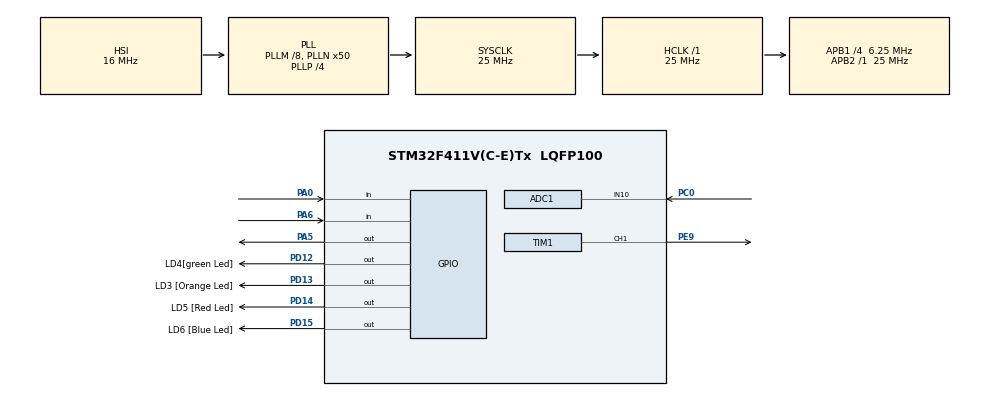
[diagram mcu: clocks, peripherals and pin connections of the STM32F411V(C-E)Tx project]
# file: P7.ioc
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ADC1.Channel-19\#ChannelRegularConversion=ADC_CHANNEL_10
ADC1.NbrOfConversion=1
ADC1.NbrOfConversionFlag=1
ADC1.Rank-19\#ChannelRegularConversion=1
ADC1.SamplingTime-19\#ChannelRegularConversion=ADC_SAMPLETIME_3CYCLES
ADC1.master=1
Mcu.Family=STM32F4
Mcu.Name=STM32F411V(C-E)Tx
Mcu.Package=LQFP100
NVIC.PriorityGroup=NVIC_PRIORITYGROUP_0
NVIC.TIM2_IRQn=true\:0\:0\:false\:false\:true\:true
PA0-WKUP.Signal=GPIO_Input
PA5.Signal=GPIO_Output
PA6.Signal=GPIO_Input
PC0.Signal=ADCx_IN10
PD12.GPIO_Label=LD4[green Led]
PD12.Signal=GPIO_Output
PD13.GPIO_Label=LD3 [Orange Led]
PD13.GPIO_PuPd=GPIO_NOPULL
PD13.GPIO_Speed=GPIO_SPEED_FREQ_LOW
PD13.Signal=GPIO_Output
PD14.GPIO_Label=LD5 [Red Led]
PD14.GPIO_PuPd=GPIO_NOPULL
PD14.GPIO_Speed=GPIO_SPEED_FREQ_LOW
PD14.Signal=GPIO_Output
PD15.GPIO_Label=LD6 [Blue Led]
PD15.GPIO_PuPd=GPIO_NOPULL
PD15.GPIO_Speed=GPIO_SPEED_FREQ_LOW
PD15.Signal=GPIO_Output
PE9.Signal=S_TIM1_CH1
ProjectManager.HeapSize=0x200
ProjectManager.StackSize=0x400
ProjectManager.TargetToolchain=MDK-ARM V5
RCC.48MHZClocksFreq_Value=12500000
RCC.AHBFreq_Value=25000000
RCC.APB1CLKDivider=RCC_HCLK_DIV4
RCC.APB1Freq_Value=6250000
RCC.APB1TimFreq_Value=12500000
RCC.APB2Freq_Value=25000000
RCC.APB2TimFreq_Value=25000000
RCC.CortexFreq_Value=25000000
RCC.HCLKFreq_Value=25000000
RCC.HSE_VALUE=8000000
RCC.HSI_VALUE=16000000
RCC.LSE_VALUE=32768
RCC.PLLI2SM=5
RCC.PLLI2SN=200
RCC.PLLM=8
RCC.PLLN=50
RCC.PLLP=RCC_PLLP_DIV4
RCC.PLLQ=8
RCC.SYSCLKFreq_VALUE=25000000
RCC.SYSCLKSource=RCC_SYSCLKSOURCE_PLLCLK
RCC.VCOOutputFreq_Value=100000000
SH.ADCx_IN10.0=ADC1_IN10,IN10
SH.S_TIM1_CH1.0=TIM1_CH1,PWM Generation1 CH1
TIM1.Channel-PWM\ Generation1\ CH1=TIM_CHANNEL_1
TIM1.Period=100
TIM1.Prescaler=16
TIM2.ClockDivision=TIM_CLOCKDIVISION_DIV1
TIM2.Period=500
TIM2.Prescaler=16000
VP_TIM1_VS_ClockSourceINT.Mode=Internal
VP_TIM2_VS_ClockSourceINT.Mode=Internal
board=32F411EDISCOVERY

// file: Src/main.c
/* USER CODE BEGIN Header */
/**
  ******************************************************************************
  * @file           : main.c
  * @brief          : Main program body
  ******************************************************************************
  ** This notice applies to any and all portions of this file
  * that are not between comment pairs USER CODE BEGIN and
  * USER CODE END. Other portions of this file, whether
  * inserted by the user or by software development tools
  * are owned by their respective copyright owners.
  *
  * COPYRIGHT(c) 2019 STMicroelectronics
  *
  * Redistribution and use in source and binary forms, with or without modification,
  * are permitted provided that the following conditions are met:
  *   1. Redistributions of source code must retain the above copyright notice,
  *      this list of conditions and the following disclaimer.
  *   2. Redistributions in binary form must reproduce the above copyright notice,
  *      this list of conditions and the following disclaimer in the documentation
  *      and/or other materials provided with the distribution.
  *   3. Neither the name of STMicroelectronics nor the names of its contributors
  *      may be used to endorse or promote products derived from this software
  *      without specific prior written permission.
  *
  * THIS SOFTWARE IS PROVIDED BY THE COPYRIGHT HOLDERS AND CONTRIBUTORS "AS IS"
  * AND ANY EXPRESS OR IMPLIED WARRANTIES, INCLUDING, BUT NOT LIMITED TO, THE
  * IMPLIED WARRANTIES OF MERCHANTABILITY AND FITNESS FOR A PARTICULAR PURPOSE ARE
  * DISCLAIMED. IN NO EVENT SHALL THE COPYRIGHT HOLDER OR CONTRIBUTORS BE LIABLE
  * FOR ANY DIRECT, INDIRECT, INCIDENTAL, SPECIAL, EXEMPLARY, OR CONSEQUENTIAL
  * DAMAGES (INCLUDING, BUT NOT LIMITED TO, PROCUREMENT OF SUBSTITUTE GOODS OR
  * SERVICES; LOSS OF USE, DATA, OR PROFITS; OR BUSINESS INTERRUPTION) HOWEVER
  * CAUSED AND ON ANY THEORY OF LIABILITY, WHETHER IN CONTRACT, STRICT LIABILITY,
  * OR TORT (INCLUDING NEGLIGENCE OR OTHERWISE) ARISING IN ANY WAY OUT OF THE USE
  * OF THIS SOFTWARE, EVEN IF ADVISED OF THE POSSIBILITY OF SUCH DAMAGE.
  *
  ******************************************************************************
  */
/* USER CODE END Header */

#include "main.h"

/* USER CODE BEGIN PD */

#define TRUE 				1
#define FALSE 			0
#define VREF				2.91		/* Voltaje de referencia del ADC */
#define ADC_12BIT		4096		/* Cuenta Maxima del ADC de 12 bits */
#define P_HUM25			0.7275	/* 25% de 3V */
#define	P_HUM75			2.1825	/* 75% de 3V */
#define TIMEOUT_EOC	5			/*espera 5 milisegundos por End Of Convertion y ADC no ha terminado, ha habido un error*/
#define RIEGO_ON		5			/* riega por 5 segundos */
#define RIEGO_OFF		10		/*Riego apagado por 10 segundos*/
#define	OFF					0
#define	ON					1
#define TIMEOUT_EOC	5
#define PWM_MAXPOS	80		/* Corresponde a 180º en el plano cartesiano */
#define PWM_MIN			330		/* Corresponde a 0º en el plano cartesiano */
#define MODO_SENSOR				1
#define MODO_TEMPORIZADOR	2

/* USER CODE END PD */

ADC_HandleTypeDef hadc1;

TIM_HandleTypeDef htim1;			/* Timers para las interrupciones usadas en el PWM */
TIM_HandleTypeDef htim2;

/* USER CODE BEGIN PV */

int						task_Pending;	/* Flag que indica que una conversión se ha lanzado y hay que recoger el valor */
double 				ADC_Read_fValue;	/* Variable donde se almacena el valor correspondiente a la lectura del ADC*/
int 					cuenta;	/* numero de ticks transcurrido desde el inicio de un ciclo de riego */
int						estado= OFF;					/* estado del prceso de riego */
int 					Modo= MODO_TEMPORIZADOR;

/* USER CODE END PV */

void SystemClock_Config(void);
static void MX_GPIO_Init(void);
static void MX_TIM2_Init(void);
static void MX_ADC1_Init(void);
static void MX_TIM1_Init(void);
/* USER CODE BEGIN PFP */

double Binary_to_Float(uint16_t valor);
double Leer_ADC(void);
void Tick_Iam_alive(void);
void Start_ADC_Conversion(void);
void Medidor_Humedad_Riego(double fADC);
void Leer_Boton_ChangeLedPIN13(void);
void Temporizacion_Riego(void);
void Cambio_Modo(void);
void Inicia_Estado_Temp(void);

/* USER CODE END PFP */

int main(void)
{

  /* MCU Configuration--------------------------------------------------------*/

  /* Reset of all peripherals, Initializes the Flash interface and the Systick. */
  HAL_Init();

  /* Configure the system clock */
  SystemClock_Config();

  /* Initialize all configured peripherals */
  MX_GPIO_Init();
  MX_TIM2_Init();
  MX_ADC1_Init();
  MX_TIM1_Init();
  /* USER CODE BEGIN 2 */

  HAL_TIM_Base_Start_IT(&htim2);
	HAL_TIM_PWM_Start(&htim1, TIM_CHANNEL_1);

	task_Pending= FALSE;	/* FALSE= 0, TRUE<> 0*/
  Inicia_Estado_Temp();

  /* USER CODE END 2 */

  /* Infinite loop */
  /* USER CODE BEGIN WHILE */
  while (1)
  {
    /* USER CODE BEGIN 3 */
		Cambio_Modo();
		/* Leer estado del boton de usuario */
		Leer_Boton_ChangeLedPIN13();

		if (task_Pending) {
			if (Modo== MODO_TEMPORIZADOR){
				Temporizacion_Riego();
			}
			else{
				ADC_Read_fValue = Leer_ADC();
				Medidor_Humedad_Riego(ADC_Read_fValue);
			}
			task_Pending= FALSE;
		}

		/* USER CODE END 3 */
  }

	/* USER CODE END WHILE */
}

void SystemClock_Config(void)
{
  RCC_OscInitTypeDef RCC_OscInitStruct = {0};
  RCC_ClkInitTypeDef RCC_ClkInitStruct = {0};

  /**Configure the main internal regulator output voltage
  */
  __HAL_RCC_PWR_CLK_ENABLE();
  __HAL_PWR_VOLTAGESCALING_CONFIG(PWR_REGULATOR_VOLTAGE_SCALE1);
  /**Initializes the CPU, AHB and APB busses clocks
  */
  RCC_OscInitStruct.OscillatorType = RCC_OSCILLATORTYPE_HSI;
  RCC_OscInitStruct.HSIState = RCC_HSI_ON;
  RCC_OscInitStruct.HSICalibrationValue = RCC_HSICALIBRATION_DEFAULT;
  RCC_OscInitStruct.PLL.PLLState = RCC_PLL_ON;
  RCC_OscInitStruct.PLL.PLLSource = RCC_PLLSOURCE_HSI;
  RCC_OscInitStruct.PLL.PLLM = 8;
  RCC_OscInitStruct.PLL.PLLN = 50;
  RCC_OscInitStruct.PLL.PLLP = RCC_PLLP_DIV4;
  RCC_OscInitStruct.PLL.PLLQ = 8;
  if (HAL_RCC_OscConfig(&RCC_OscInitStruct) != HAL_OK)
  {
    Error_Handler();
  }
  /**Initializes the CPU, AHB and APB busses clocks
  */
  RCC_ClkInitStruct.ClockType = RCC_CLOCKTYPE_HCLK|RCC_CLOCKTYPE_SYSCLK
                              |RCC_CLOCKTYPE_PCLK1|RCC_CLOCKTYPE_PCLK2;
  RCC_ClkInitStruct.SYSCLKSource = RCC_SYSCLKSOURCE_PLLCLK;
  RCC_ClkInitStruct.AHBCLKDivider = RCC_SYSCLK_DIV1;
  RCC_ClkInitStruct.APB1CLKDivider = RCC_HCLK_DIV4;
  RCC_ClkInitStruct.APB2CLKDivider = RCC_HCLK_DIV1;

  if (HAL_RCC_ClockConfig(&RCC_ClkInitStruct, FLASH_LATENCY_0) != HAL_OK)
  {
    Error_Handler();
  }
}

static void MX_ADC1_Init(void)
{

  ADC_ChannelConfTypeDef sConfig = {0};

  /**Configure the global features of the ADC (Clock, Resolution, Data Alignment and number of conversion)
  */
  hadc1.Instance = ADC1;
  hadc1.Init.ClockPrescaler = ADC_CLOCK_SYNC_PCLK_DIV2;
  hadc1.Init.Resolution = ADC_RESOLUTION_12B;
  hadc1.Init.ScanConvMode = DISABLE;
  hadc1.Init.ContinuousConvMode = DISABLE;
  hadc1.Init.DiscontinuousConvMode = DISABLE;
  hadc1.Init.ExternalTrigConvEdge = ADC_EXTERNALTRIGCONVEDGE_NONE;
  hadc1.Init.ExternalTrigConv = ADC_SOFTWARE_START;
  hadc1.Init.DataAlign = ADC_DATAALIGN_RIGHT;
  hadc1.Init.NbrOfConversion = 1;
  hadc1.Init.DMAContinuousRequests = DISABLE;
  hadc1.Init.EOCSelection = ADC_EOC_SINGLE_CONV;
  if (HAL_ADC_Init(&hadc1) != HAL_OK)
  {
    Error_Handler();
  }
  /**Configure for the selected ADC regular channel its corresponding rank in the sequencer and its sample time.
  */
  sConfig.Channel = ADC_CHANNEL_10;
  sConfig.Rank = 1;
  sConfig.SamplingTime = ADC_SAMPLETIME_56CYCLES;
  if (HAL_ADC_ConfigChannel(&hadc1, &sConfig) != HAL_OK)
  {
    Error_Handler();
  }

}

static void MX_TIM1_Init(void)
{

  TIM_ClockConfigTypeDef sClockSourceConfig = {0};
  TIM_MasterConfigTypeDef sMasterConfig = {0};
  TIM_OC_InitTypeDef sConfigOC = {0};
  TIM_BreakDeadTimeConfigTypeDef sBreakDeadTimeConfig = {0};

  htim1.Instance = TIM1;
  htim1.Init.Prescaler = 160;
  htim1.Init.CounterMode = TIM_COUNTERMODE_UP;
  htim1.Init.Period = 2000;
  htim1.Init.ClockDivision = TIM_CLOCKDIVISION_DIV1;
  htim1.Init.RepetitionCounter = 0;
  if (HAL_TIM_Base_Init(&htim1) != HAL_OK)
  {
    Error_Handler();
  }
  sClockSourceConfig.ClockSource = TIM_CLOCKSOURCE_INTERNAL;
  if (HAL_TIM_ConfigClockSource(&htim1, &sClockSourceConfig) != HAL_OK)
  {
    Error_Handler();
  }
  if (HAL_TIM_PWM_Init(&htim1) != HAL_OK)
  {
    Error_Handler();
  }
  sMasterConfig.MasterOutputTrigger = TIM_TRGO_RESET;
  sMasterConfig.MasterSlaveMode = TIM_MASTERSLAVEMODE_DISABLE;
  if (HAL_TIMEx_MasterConfigSynchronization(&htim1, &sMasterConfig) != HAL_OK)
  {
    Error_Handler();
  }
  sConfigOC.OCMode = TIM_OCMODE_PWM1;
  sConfigOC.Pulse = 0;
  sConfigOC.OCPolarity = TIM_OCPOLARITY_HIGH;
  sConfigOC.OCNPolarity = TIM_OCNPOLARITY_HIGH;
  sConfigOC.OCFastMode = TIM_OCFAST_DISABLE;
  sConfigOC.OCIdleState = TIM_OCIDLESTATE_RESET;
  sConfigOC.OCNIdleState = TIM_OCNIDLESTATE_RESET;
  if (HAL_TIM_PWM_ConfigChannel(&htim1, &sConfigOC, TIM_CHANNEL_1) != HAL_OK)
  {
    Error_Handler();
  }
  sBreakDeadTimeConfig.OffStateRunMode = TIM_OSSR_DISABLE;
  sBreakDeadTimeConfig.OffStateIDLEMode = TIM_OSSI_DISABLE;
  sBreakDeadTimeConfig.LockLevel = TIM_LOCKLEVEL_OFF;
  sBreakDeadTimeConfig.DeadTime = 0;
  sBreakDeadTimeConfig.BreakState = TIM_BREAK_DISABLE;
  sBreakDeadTimeConfig.BreakPolarity = TIM_BREAKPOLARITY_HIGH;
  sBreakDeadTimeConfig.AutomaticOutput = TIM_AUTOMATICOUTPUT_DISABLE;
  if (HAL_TIMEx_ConfigBreakDeadTime(&htim1, &sBreakDeadTimeConfig) != HAL_OK)
  {
    Error_Handler();
  }
  HAL_TIM_MspPostInit(&htim1);

}

static void MX_TIM2_Init(void)
{

  TIM_ClockConfigTypeDef sClockSourceConfig = {0};
  TIM_MasterConfigTypeDef sMasterConfig = {0};

  htim2.Instance = TIM2;
  htim2.Init.Prescaler = 16000;
  htim2.Init.CounterMode = TIM_COUNTERMODE_UP;
  htim2.Init.Period = 800;
  htim2.Init.ClockDivision = TIM_CLOCKDIVISION_DIV1;
  if (HAL_TIM_Base_Init(&htim2) != HAL_OK)
  {
    Error_Handler();
  }
  sClockSourceConfig.ClockSource = TIM_CLOCKSOURCE_INTERNAL;
  if (HAL_TIM_ConfigClockSource(&htim2, &sClockSourceConfig) != HAL_OK)
  {
    Error_Handler();
  }
  sMasterConfig.MasterOutputTrigger = TIM_TRGO_RESET;
  sMasterConfig.MasterSlaveMode = TIM_MASTERSLAVEMODE_DISABLE;
  if (HAL_TIMEx_MasterConfigSynchronization(&htim2, &sMasterConfig) != HAL_OK)
  {
    Error_Handler();
  }

}

static void MX_GPIO_Init(void)
{
  GPIO_InitTypeDef GPIO_InitStruct = {0};

  /* GPIO Ports Clock Enable */
  __HAL_RCC_GPIOC_CLK_ENABLE();
  __HAL_RCC_GPIOA_CLK_ENABLE();
  __HAL_RCC_GPIOE_CLK_ENABLE();
  __HAL_RCC_GPIOD_CLK_ENABLE();

  /*Configure GPIO pin Output Level */
  HAL_GPIO_WritePin(GPIOA, GPIO_PIN_5, GPIO_PIN_RESET);

  /*Configure GPIO pin Output Level */
  HAL_GPIO_WritePin(GPIOD, LD4_Pin|LD3_Pin|LD5_Pin|LD6_Pin, GPIO_PIN_RESET);

  /*Configure GPIO pins : PA0 PA6 */
  GPIO_InitStruct.Pin = GPIO_PIN_0|GPIO_PIN_6;
  GPIO_InitStruct.Mode = GPIO_MODE_INPUT;
  GPIO_InitStruct.Pull = GPIO_NOPULL;
  HAL_GPIO_Init(GPIOA, &GPIO_InitStruct);

  /*Configure GPIO pin : PA5 */
  GPIO_InitStruct.Pin = GPIO_PIN_5;
  GPIO_InitStruct.Mode = GPIO_MODE_OUTPUT_PP;
  GPIO_InitStruct.Pull = GPIO_NOPULL;
  GPIO_InitStruct.Speed = GPIO_SPEED_FREQ_LOW;
  HAL_GPIO_Init(GPIOA, &GPIO_InitStruct);

  /*Configure GPIO pins : LD4_Pin LD3_Pin LD5_Pin LD6_Pin */
  GPIO_InitStruct.Pin = LD4_Pin|LD3_Pin|LD5_Pin|LD6_Pin;
  GPIO_InitStruct.Mode = GPIO_MODE_OUTPUT_PP;
  GPIO_InitStruct.Pull = GPIO_NOPULL;
  GPIO_InitStruct.Speed = GPIO_SPEED_FREQ_LOW;
  HAL_GPIO_Init(GPIOD, &GPIO_InitStruct);

}

/* USER CODE BEGIN 4 */

/**
  * Realiza el posicionamiento de un servo
	* @param  Pos: Número de gardo con respecto al plano cartesiano 0º a 180º
  * @retval regresa el valor leido convertido en double
  */
void Inicia_Estado_Temp(void){
// Inicialización en no riego
	estado= OFF;
	cuenta= 0;
	HAL_GPIO_WritePin(GPIOD,GPIO_PIN_15,GPIO_PIN_RESET);
	__HAL_TIM_SET_COMPARE(&htim1, TIM_CHANNEL_1, PWM_MAXPOS);
	HAL_GPIO_WritePin(GPIOD, LD4_Pin|LD3_Pin|LD5_Pin|LD6_Pin, GPIO_PIN_RESET);
}

/**
  * Realiza la inicialización del conversor ADC y espera por el valor
  * @param  None
  * @retval regresa el valor leido convertido en double
  */
double Leer_ADC(void){

	HAL_ADC_Start (&hadc1); /* arranco conversion*/
	if (HAL_ADC_PollForConversion (&hadc1, TIMEOUT_EOC)== HAL_OK)
		return Binary_to_Float(HAL_ADC_GetValue (&hadc1));
	return -1.; 				/* else conversion fallo-> valor retornado HAL_TIMEOUT*/
}

/**
  * Cambia el estado del sistema de riego en base a la medición del % de humedad
  * @param  fADC, contiene la medición de la humedad y sobre la que se toma la desición
  * @retval None
  */
void Medidor_Humedad_Riego(double fADC){

	if(fADC > P_HUM75){
		/*Configure GPIO pin Output Level */
		HAL_GPIO_WritePin(GPIOD, GPIO_PIN_15, GPIO_PIN_RESET);
		HAL_GPIO_WritePin(GPIOD, GPIO_PIN_14, GPIO_PIN_SET);
		__HAL_TIM_SET_COMPARE(&htim1, TIM_CHANNEL_1, PWM_MAXPOS);
	}
	if(fADC < P_HUM25){
		/*Configure GPIO pin Output Level */
		HAL_GPIO_WritePin(GPIOD, GPIO_PIN_15, GPIO_PIN_SET);
		HAL_GPIO_WritePin(GPIOD, GPIO_PIN_14, GPIO_PIN_RESET);
		__HAL_TIM_SET_COMPARE(&htim1, TIM_CHANNEL_1, PWM_MIN);

	}
}

double Binary_to_Float(uint16_t valor){

	return VREF * valor/ADC_12BIT;
}

/**
  * Cambio continuamente el estado del Led Rojo Pin_14 para indicar que estamos vivos
  * @param  None
  * @retval None
  */
void Tick_Iam_alive(void){

	static GPIO_PinState rember_Last= GPIO_PIN_RESET;

        /* Toggle LED */
			if (rember_Last == GPIO_PIN_RESET){
				HAL_GPIO_WritePin(GPIOD, GPIO_PIN_12, GPIO_PIN_SET);
				rember_Last= GPIO_PIN_SET;
			}
			else { /* if (rember_Last == GPIO_PIN_SET) */
				HAL_GPIO_WritePin(GPIOD, GPIO_PIN_12, GPIO_PIN_RESET);
				rember_Last= GPIO_PIN_RESET;
			}
}

/**
  * Indica al ADC que comience la conversion
  * @param  None
  * @retval None
  */

void Start_ADC_Conversion(void){
	HAL_ADC_Start (&hadc1); /* Start conversation */
}

/**
  * @Interrupción: Funcion Callback no bloqueante- llamada por la interupción
  * @param  htim: TIM handle
  * @retval None
  */

void HAL_TIM_PeriodElapsedCallback(TIM_HandleTypeDef *htim)
{

    if (htim->Instance == htim2.Instance)
    {
			Tick_Iam_alive();
			task_Pending= TRUE; /* Indica que hay una tarea pendiente */
    }
}

/**
  * @Leer estado del Botton externo PA6
	* @cambio de medidor de humedad a temporizador
  * @param  NONE
  * @retval Modo
  */

void Cambio_Modo(void){
	if (HAL_GPIO_ReadPin(GPIOA,GPIO_PIN_6)){
		if(Modo== MODO_SENSOR){
			Modo= MODO_TEMPORIZADOR;
			Inicia_Estado_Temp();
			HAL_GPIO_WritePin(GPIOA, GPIO_PIN_5, GPIO_PIN_RESET);
		}
		else{
			Modo= MODO_SENSOR;
			Inicia_Estado_Temp();
			HAL_GPIO_WritePin(GPIOA, GPIO_PIN_5, GPIO_PIN_SET);	// Modo SENSOR Pin ON  Led proto Rojo
		}
		HAL_Delay(1000);
	}
}

/**
  * @Leer estado del Botton Usuario, tarjeta STM32F411,
	* @Enciente o apaga PIN13 dependiendo del estado
  * @param  NONE
  * @retval None
  */

void Leer_Boton_ChangeLedPIN13(void)
	{
		if (HAL_GPIO_ReadPin(GPIOA,GPIO_PIN_0)){
			HAL_GPIO_WritePin(GPIOD,GPIO_PIN_13,GPIO_PIN_SET); // Boton presionado se enciende luz naranja
			if( estado== ON){
				estado= OFF;
				cuenta= 0;
				HAL_GPIO_WritePin(GPIOD,GPIO_PIN_15,GPIO_PIN_RESET);
				__HAL_TIM_SET_COMPARE(&htim1, TIM_CHANNEL_1, PWM_MAXPOS);
				HAL_Delay(1000);
			}
			else{
				estado= ON;
				cuenta= 0;
				HAL_GPIO_WritePin(GPIOD,GPIO_PIN_15,GPIO_PIN_SET);
				__HAL_TIM_SET_COMPARE(&htim1, TIM_CHANNEL_1, PWM_MIN);
				HAL_Delay(1000);
			}
		} else {
						HAL_GPIO_WritePin(GPIOD,GPIO_PIN_13,GPIO_PIN_RESET);
		}
	}

	/**
  * @Abre o cierrar la valvula en función del tiempo 5 segundo de riego y 10 segundo sin riego
	* @La salida PIN_5 se utiliza para controlar una valvula
  * @param  NONE
  * @retval None
  */
	void Temporizacion_Riego(void){
			cuenta++;
			if (estado==ON && cuenta >= RIEGO_ON){
				cuenta= 0;
				__HAL_TIM_SET_COMPARE(&htim1, TIM_CHANNEL_1, PWM_MAXPOS);
				HAL_GPIO_WritePin(GPIOD,GPIO_PIN_15,GPIO_PIN_RESET);

				// se suspende el riego
				estado= OFF;
			}
			if (estado==OFF && cuenta >= RIEGO_OFF){
				cuenta= 0;
				__HAL_TIM_SET_COMPARE(&htim1, TIM_CHANNEL_1, PWM_MIN);
				HAL_GPIO_WritePin(GPIOD,GPIO_PIN_15,GPIO_PIN_SET);
				estado= ON;
			}
		}

/* USER CODE END 4 */

void Error_Handler(void)
{
}

/************************ (C) COPYRIGHT STMicroelectronics *****END OF FILE****/
